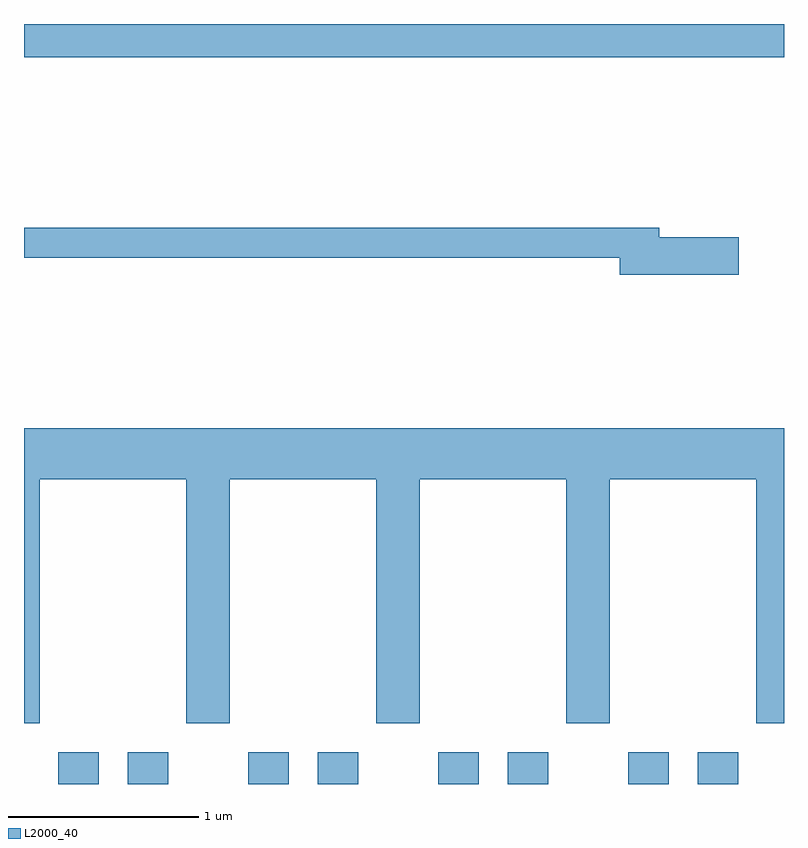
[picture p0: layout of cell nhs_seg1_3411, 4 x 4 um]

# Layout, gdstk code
import gdstk
lib = gdstk.Library(unit=1e-6, precision=1e-09)
def R(c, l, rs):  # rectangles x0, y0, x1, y1
    for r in rs: c.add(gdstk.rectangle(r[:2], r[2:], *l))
def P(c, l, *ps):  # polygons
    for p in ps: c.add(gdstk.Polygon(p, *l))
L2000_40 = (2000, 40)

nhs_seg1_3411 = lib.new_cell('nhs_seg1_3411')
R(nhs_seg1_3411, L2000_40, [(287.791,935.712,288.004,935.879), (288.156,935.712,288.369,935.879), (288.791,935.712,289.004,935.879), (289.156,935.712,289.369,935.879), (289.791,935.712,290.004,935.879), (290.156,935.712,290.369,935.879), (290.791,935.712,291.004,935.879), (291.156,935.712,291.369,935.879), (287.611,939.536,291.611,939.712)])
P(nhs_seg1_3411, L2000_40, [(291.374,938.589),(290.954,938.589),(290.954,938.639),(287.611,938.639),(287.611,938.481),(290.746,938.481),(290.746,938.391),(291.374,938.391)],
  [(287.694,937.316),(288.466,937.316),(288.466,936.031),(288.694,936.031),(288.694,937.316),(289.466,937.316),(289.466,936.031),(289.694,936.031),(289.694,937.316),(290.466,937.316),(290.466,936.031),(290.694,936.031),(290.694,937.316),(291.466,937.316),(291.466,936.031),(291.611,936.031),(291.611,937.584),(287.611,937.584),(287.611,936.031),(287.694,936.031)])

lib.write_gds('nhs_seg1_3411.gds')
